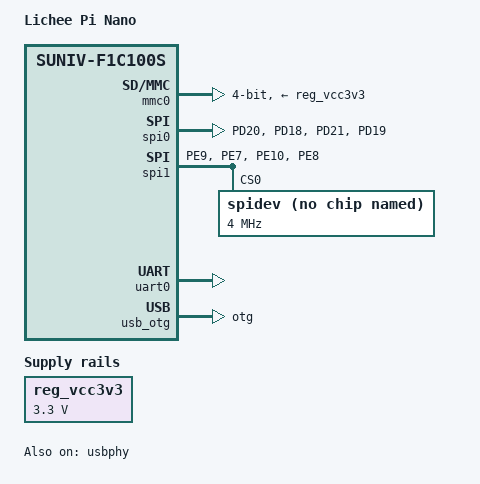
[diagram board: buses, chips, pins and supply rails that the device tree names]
// SPDX-License-Identifier: (GPL-2.0+ OR X11)
/*
 * Copyright 2018 Icenowy Zheng <icenowy@aosc.io>
 */

/dts-v1/;
#include "allwinner/suniv-f1c100s.dtsi"

#include <dt-bindings/gpio/gpio.h>

/ {
	model = "Lichee Pi Nano";
	compatible = "licheepi,licheepi-nano", "allwinner,suniv-f1c100s";

	aliases {
		mmc0 = &mmc0;
		serial0 = &uart0;
		spi0 = &spi0;
		spi1 = &spi1;
		pio = &pio;
	};

	chosen {
		stdout-path = "serial0:115200n8";
	};

	reg_vcc3v3: vcc3v3 {
		compatible = "regulator-fixed";
		regulator-name = "vcc3v3";
		regulator-min-microvolt = <3300000>;
		regulator-max-microvolt = <3300000>;
	};
};

&pio {
	spi0_pd_pins: spi0-pd-pins {
		pins = "PD20", "PD18", "PD21", "PD19";
		function = "spi0";
	};

	spi1_pe_pins: spi1-pe-pins {
		pins = "PE9", "PE7", "PE10", "PE8";
		function = "spi1";
	};
};

&mmc0 {
	broken-cd;
	bus-width = <4>;
	disable-wp;
	status = "okay";
	vmmc-supply = <&reg_vcc3v3>;
};

&spi0 {
	pinctrl-names = "default";
	pinctrl-0 = <&spi0_pd_pins>;
	status = "okay";
};

&spi1 {
	pinctrl-names = "default";
	pinctrl-0 = <&spi1_pe_pins>;
	status = "okay";

    spidev@0{
        compatible = "rohm,dh2228fv";
        reg = <0>;
        spi-max-frequency = <4000000>;
    };

};

&otg_sram {
	status = "okay";
};

&uart0 {
	pinctrl-names = "default";
	pinctrl-0 = <&uart0_pe_pins>;
	status = "okay";
};

&usb_otg {
	dr_mode = "otg";
	status = "okay";
};

&usbphy {
	usb0_id_det-gpios = <&pio 4 2 GPIO_ACTIVE_HIGH>; /* PE2 */
	status = "okay";
};
